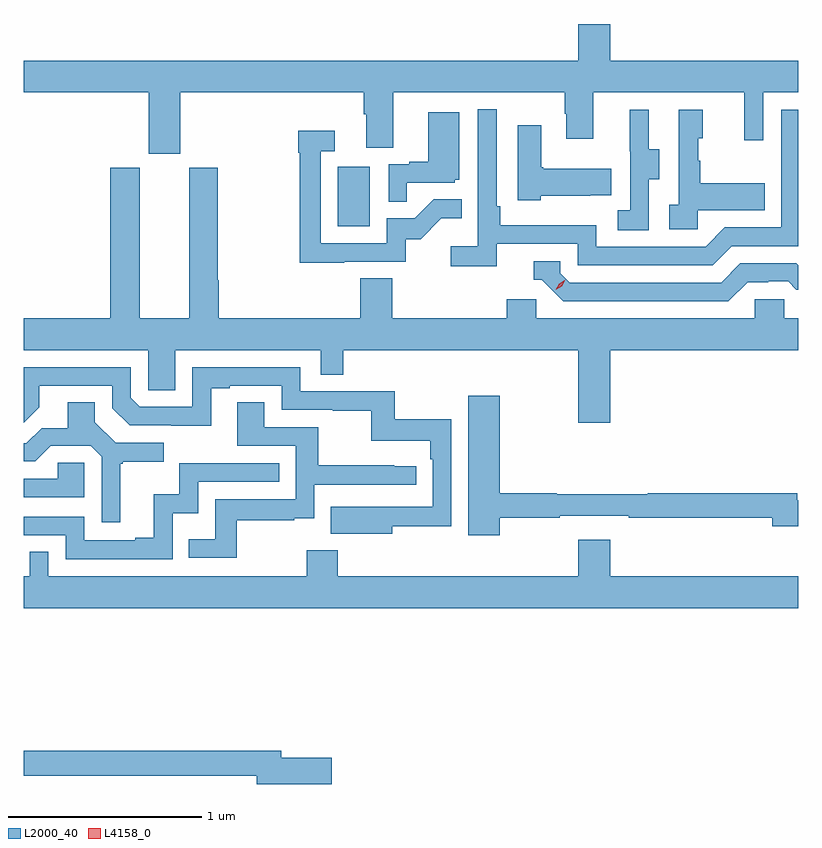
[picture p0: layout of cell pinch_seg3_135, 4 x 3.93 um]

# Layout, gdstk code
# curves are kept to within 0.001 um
import gdstk
lib = gdstk.Library(unit=1e-6, precision=1e-09)
def R(c, l, rs):  # rectangles x0, y0, x1, y1
    for r in rs: c.add(gdstk.rectangle(r[:2], r[2:], *l))
def P(c, l, *ps):  # polygons
    for p in ps: c.add(gdstk.Polygon(p, *l))
L2000_40 = (2000, 40)
L4158_0 = (4158, 0)

pinch_seg3_135 = lib.new_cell('pinch_seg3_135')
R(pinch_seg3_135, L2000_40, [(1134.794,725.532,1134.958,725.839)])
P(pinch_seg3_135, L2000_40, [(1133.98,726.224),(1134.929,726.224),(1134.929,726.112),(1134.941,726.112),(1134.941,725.938),(1135.081,725.938),(1135.081,726.224),(1135.966,726.224),(1135.966,726.113),(1135.973,726.113),(1135.973,725.985),(1136.113,725.985),(1136.113,726.224),(1136.894,726.224),(1136.894,725.976),(1136.991,725.976),(1136.991,726.224),(1137.172,726.224),(1137.172,726.388),(1136.2,726.388),(1136.2,726.577),(1136.036,726.577),(1136.036,726.388),(1133.172,726.388),(1133.172,726.224),(1133.816,726.224),(1133.816,725.907),(1133.98,725.907)],
  [(1135.616,725.442),(1136.034,725.442),(1136.034,725.331),(1136.731,725.331),(1136.83,725.43),(1137.172,725.43),(1137.172,726.135),(1137.084,726.135),(1137.084,725.526),(1136.793,725.526),(1136.694,725.427),(1136.13,725.427),(1136.13,725.538),(1135.634,725.538),(1135.634,725.635),(1135.614,725.635),(1135.614,726.136),(1135.518,726.136),(1135.518,725.428),(1135.377,725.428),(1135.377,725.326),(1135.616,725.326)],
  [(1136.4,725.776),(1136.455,725.776),(1136.455,725.931),(1136.401,725.931),(1136.401,726.133),(1136.303,726.133),(1136.303,725.919),(1136.304,725.919),(1136.304,725.615),(1136.241,725.615),(1136.241,725.512),(1136.4,725.512)],
  [(1136.652,725.615),(1136.999,725.615),(1136.999,725.755),(1136.665,725.755),(1136.665,725.87),(1136.655,725.87),(1136.655,725.988),(1136.68,725.988),(1136.68,726.133),(1136.556,726.133),(1136.556,725.642),(1136.505,725.642),(1136.505,725.517),(1136.652,725.517)],
  [(1135.151,725.757),(1135.398,725.757),(1135.398,725.772),(1135.42,725.772),(1135.42,726.121),(1135.262,726.121),(1135.262,725.866),(1135.163,725.866),(1135.163,725.853),(1135.056,725.853),(1135.056,725.659),(1135.151,725.659)],
  [(1135.842,725.69),(1136.099,725.69),(1136.099,725.693),(1136.207,725.693),(1136.207,725.83),(1135.854,725.83),(1135.854,725.838),(1135.846,725.838),(1135.846,726.055),(1135.724,726.055),(1135.724,725.666),(1135.842,725.666)],
  [(1134.827,725.349),(1135.146,725.349),(1135.146,725.466),(1135.222,725.466),(1135.329,725.573),(1135.433,725.573),(1135.433,725.672),(1135.289,725.672),(1135.191,725.574),(1135.047,725.574),(1135.047,725.445),(1134.705,725.445),(1134.705,725.919),(1134.778,725.919),(1134.778,726.025),(1134.589,726.025),(1134.589,725.912),(1134.597,725.912),(1134.597,725.344),(1134.827,725.344)],
  [(1136.2,724.892),(1137.172,724.892),(1137.172,725.056),(1137.099,725.056),(1137.099,725.154),(1136.949,725.154),(1136.949,725.056),(1135.818,725.056),(1135.818,725.154),(1135.667,725.154),(1135.667,725.056),(1135.076,725.056),(1135.076,725.264),(1134.911,725.264),(1134.911,725.056),(1134.179,725.056),(1134.179,725.252),(1134.174,725.252),(1134.174,725.835),(1134.026,725.835),(1134.026,725.056),(1133.77,725.056),(1133.77,725.835),(1133.618,725.835),(1133.618,725.056),(1133.172,725.056),(1133.172,724.892),(1133.814,724.892),(1133.814,724.684),(1133.953,724.684),(1133.953,724.892),(1134.705,724.892),(1134.705,724.765),(1134.821,724.765),(1134.821,724.892),(1136.036,724.892),(1136.036,724.518),(1136.2,724.518)],
  [(1136.911,725.244),(1137.018,725.244),(1137.018,725.247),(1137.121,725.247),(1137.163,725.205),(1137.172,725.205),(1137.172,725.331),(1137.163,725.34),(1136.874,725.34),(1136.775,725.241),(1135.992,725.241),(1135.944,725.289),(1135.944,725.352),(1135.805,725.352),(1135.805,725.256),(1135.848,725.256),(1135.959,725.145),(1136.812,725.145)],
  [(1135.075,723.982),(1135.38,723.982),(1135.38,724.534),(1135.087,724.534),(1135.087,724.68),(1134.6,724.68),(1134.6,724.803),(1134.042,724.803),(1134.042,724.599),(1133.772,724.599),(1133.724,724.647),(1133.724,724.803),(1133.172,724.803),(1133.172,724.518),(1133.251,724.597),(1133.251,724.707),(1133.628,724.707),(1133.628,724.593),(1133.718,724.503),(1134.139,724.502),(1134.139,724.695),(1134.235,724.695),(1134.235,724.707),(1134.504,724.707),(1134.504,724.584),(1134.769,724.584),(1134.769,724.579),(1134.966,724.579),(1134.966,724.424),(1135.271,724.424),(1135.271,724.328),(1135.284,724.328),(1135.284,724.083),(1134.757,724.084),(1134.757,723.944),(1135.075,723.944)],
  [(1135.63,724.026),(1135.94,724.026),(1135.94,724.038),(1136.296,724.038),(1136.296,724.026),(1137.038,724.026),(1137.038,723.983),(1137.172,723.983),(1137.172,724.118),(1137.166,724.118),(1137.166,724.154),(1136.394,724.154),(1136.394,724.147),(1135.926,724.147),(1135.926,724.154),(1135.63,724.154),(1135.63,724.657),(1135.469,724.657),(1135.469,723.936),(1135.63,723.936)],
  [(1133.671,724.305),(1133.683,724.305),(1133.683,724.316),(1133.896,724.316),(1133.896,724.413),(1133.646,724.413),(1133.539,724.52),(1133.539,724.622),(1133.399,724.622),(1133.399,724.49),(1133.264,724.49),(1133.184,724.41),(1133.172,724.41),(1133.172,724.317),(1133.23,724.317),(1133.311,724.398),(1133.517,724.398),(1133.574,724.341),(1133.574,724.002),(1133.671,724.002)],
  [(1134.271,724.014),(1134.569,724.014),(1134.569,724.025),(1134.672,724.025),(1134.672,724.197),(1135.198,724.197),(1135.198,724.293),(1135.085,724.293),(1135.085,724.298),(1134.692,724.298),(1134.692,724.494),(1134.415,724.494),(1134.415,724.622),(1134.275,724.622),(1134.275,724.398),(1134.576,724.398),(1134.576,724.122),(1134.16,724.122),(1134.16,723.916),(1134.025,723.916),(1134.025,723.819),(1134.271,723.819)],
  [(1133.484,724.311),(1133.347,724.311),(1133.347,724.227),(1133.172,724.227),(1133.172,724.131),(1133.484,724.131)],
  [(1133.94,724.049),(1134.072,724.049),(1134.072,724.212),(1134.491,724.212),(1134.491,724.308),(1133.976,724.308),(1133.976,724.147),(1133.843,724.147),(1133.843,723.922),(1133.747,723.922),(1133.747,723.909),(1133.484,723.909),(1133.484,724.032),(1133.172,724.032),(1133.172,723.936),(1133.388,723.936),(1133.388,723.813),(1133.94,723.813)],
  [(1137.172,723.724),(1136.2,723.724),(1136.2,723.913),(1136.036,723.913),(1136.036,723.724),(1134.794,723.724),(1134.794,723.859),(1134.634,723.859),(1134.634,723.724),(1133.298,723.724),(1133.298,723.851),(1133.202,723.851),(1133.202,723.724),(1133.172,723.724),(1133.172,723.56),(1137.172,723.56)],
  [(1134.763,722.786),(1134.502,722.786),(1134.502,722.822),(1133.172,722.822),(1133.172,722.694),(1134.374,722.694),(1134.374,722.651),(1134.763,722.651)])
P(pinch_seg3_135, L4158_0, [(1135.92,725.204),(1135.92,725.204),(1135.937,725.236),(1135.968,725.255),(1135.968,725.255),(1135.968,725.255),(1135.952,725.223),(1135.92,725.204)])

lib.write_gds('pinch_seg3_135.gds')
